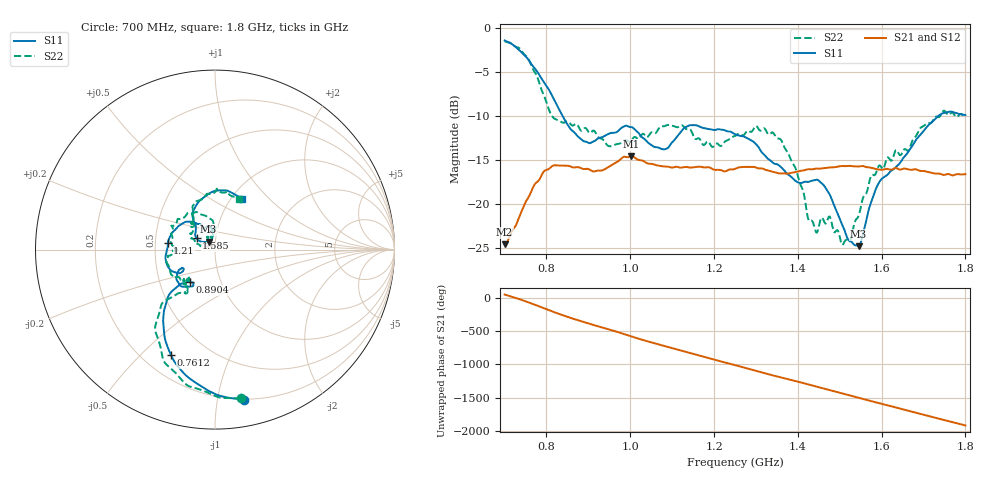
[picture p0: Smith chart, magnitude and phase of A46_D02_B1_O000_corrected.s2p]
! Created with skrf 1.9.0 (http://scikit-rf.org).
# Hz S RI R 50.0
!freq ReS11 ImS11 ReS21 ImS21 ReS12 ImS12 ReS22 ImS22
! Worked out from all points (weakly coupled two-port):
!   1601 points, 700 MHz to 1.8 GHz, reference 50 ohm
!   highest |S21| = -14.58 dB at 1.002 GHz (marker M1); lowest = -24.6 dB at 700 MHz (marker M2)
!   lowest |S11| = -24.8 dB at 1.545 GHz (marker M3), VSWR 1.12, Z = 46.4 + j4.2 ohm
!   |S11| at or under -10 dB: 838.3 MHz to 1.735 GHz (896.7 MHz wide, 69.7 % of centre)
!   |S22| runs from -24.7 to -1.5 dB; largest |S21 - S12| = 0.0034
!   S11 on the Smith chart (normalised r, x): 700 MHz: 0.20, -1.19; 761.2 MHz: 0.31, -0.62; 890.4 MHz: 0.71, -0.27; 1.21 GHz: 0.58, +0.05; 1.585 GHz: 0.81, +0.10; 1.8 GHz: 1.12, +0.70
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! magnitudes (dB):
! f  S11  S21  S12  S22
! 700 MHz  -1.4  -24.6  -24.4  -1.5
! 761.2 MHz  -3.9  -18.9  -18.8  -3.9
! 814.8 MHz  -7.8  -15.7  -15.7  -10.1
! 883.6 MHz  -12.7  -16.0  -15.9  -11.7
! 890.4 MHz  -12.9  -16.0  -16.0  -11.4
! 950.2 MHz  -12.0  -15.7  -15.8  -13.4
! 1.002 GHz  -11.3  -14.6  -14.7  -12.8
! 1.067 GHz  -13.6  -15.7  -15.6  -11.5
! 1.141 GHz  -11.1  -15.9  -15.8  -11.5
! 1.21 GHz  -11.5  -16.1  -16.1  -13.2
! 1.25 GHz  -12.1  -16.0  -15.9  -12.3
! 1.301 GHz  -13.2  -15.9  -15.8  -11.1
! 1.359 GHz  -15.8  -16.5  -16.5  -12.6
! 1.394 GHz  -17.4  -16.4  -16.4  -15.9
! 1.434 GHz  -17.4  -16.1  -16.0  -21.9
! 1.476 GHz  -18.9  -15.9  -15.9  -21.4
! 1.508 GHz  -22.7  -15.7  -15.7  -24.6
! 1.545 GHz  -24.8  -15.7  -15.7  -21.4
! 1.585 GHz  -18.4  -16.0  -16.0  -16.6
! 1.617 GHz  -16.5  -16.1  -16.0  -14.8
! 1.737 GHz  -9.9  -16.5  -16.6  -10.1
! 1.8 GHz  -9.9  -16.6  -16.6  -10.0
